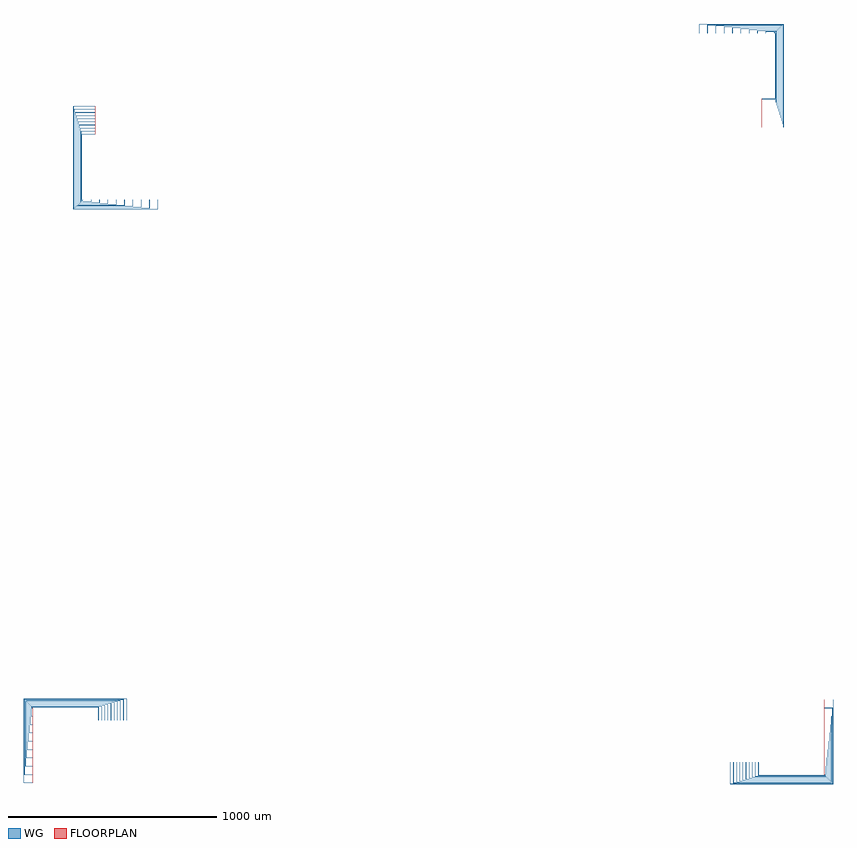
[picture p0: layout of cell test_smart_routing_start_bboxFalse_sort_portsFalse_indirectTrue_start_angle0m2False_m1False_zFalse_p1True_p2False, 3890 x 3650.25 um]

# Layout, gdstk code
import gdstk
lib = gdstk.Library(unit=1e-6, precision=1e-09)
def P(c, l, *ps):  # polygons
    for p in ps: c.add(gdstk.Polygon(p, *l))
WG = (1, 0)
FLOORPLAN = (10, 0)

test_smart_routing_start = lib.new_cell('test_smart_routing_start_bboxFalse_sort_portsFalse_indirectTrue_start_angle0m2False_m1False_zFalse_p1True_p2False')
P(test_smart_routing_start, WG, [(-444.7,-199.95),(-444.7,204.95),(49.95,204.95),(49.95,100),(49.75,100),(49.75,204.75),(-444.5,204.75),(-444.5,-199.75),(-400,-199.75),(-400,-199.95)],
  [(-445,-200.25),(-445,205.25),(50.25,205.25),(50.25,100),(50.05,100),(50.05,205.05),(-444.8,205.05),(-444.8,-200.05),(-400,-200.05),(-400,-200.25)],
  [(-440.2,-159.95),(-440.2,200.45),(34.95,200.45),(34.95,100),(34.75,100),(34.75,200.25),(-440,200.25),(-440,-159.75),(-400,-159.75),(-400,-159.95)],
  [(-440.5,-160.25),(-440.5,200.75),(35.25,200.75),(35.25,100),(35.05,100),(35.05,200.55),(-440.3,200.55),(-440.3,-160.05),(-400,-160.05),(-400,-160.25)],
  [(-435.7,-119.95),(-435.7,195.95),(19.95,195.95),(19.95,100),(19.75,100),(19.75,195.75),(-435.5,195.75),(-435.5,-119.75),(-400,-119.75),(-400,-119.95)],
  [(-436,-120.25),(-436,196.25),(20.25,196.25),(20.25,100),(20.05,100),(20.05,196.05),(-435.8,196.05),(-435.8,-120.05),(-400,-120.05),(-400,-120.25)],
  [(-431.2,-79.95),(-431.2,191.45),(4.95,191.45),(4.95,100),(4.75,100),(4.75,191.25),(-431,191.25),(-431,-79.75),(-400,-79.75),(-400,-79.95)],
  [(-431.5,-80.25),(-431.5,191.75),(5.25,191.75),(5.25,100),(5.05,100),(5.05,191.55),(-431.3,191.55),(-431.3,-80.05),(-400,-80.05),(-400,-80.25)],
  [(-426.7,-39.95),(-426.7,186.95),(-10.05,186.95),(-10.05,100),(-10.25,100),(-10.25,186.75),(-426.5,186.75),(-426.5,-39.75),(-400,-39.75),(-400,-39.95)],
  [(-427,-40.25),(-427,187.25),(-9.75,187.25),(-9.75,100),(-9.95,100),(-9.95,187.05),(-426.8,187.05),(-426.8,-40.05),(-400,-40.05),(-400,-40.25)],
  [(-422.2,0.05),(-422.2,182.45),(-25.05,182.45),(-25.05,100),(-25.25,100),(-25.25,182.25),(-422,182.25),(-422,0.25),(-400,0.25),(-400,0.05)],
  [(-422.5,-0.25),(-422.5,182.75),(-24.75,182.75),(-24.75,100),(-24.95,100),(-24.95,182.55),(-422.3,182.55),(-422.3,-0.05),(-400,-0.05),(-400,-0.25)],
  [(-417.7,40.05),(-417.7,177.95),(-40.05,177.95),(-40.05,100),(-40.25,100),(-40.25,177.75),(-417.5,177.75),(-417.5,40.25),(-400,40.25),(-400,40.05)],
  [(-418,39.75),(-418,178.25),(-39.75,178.25),(-39.75,100),(-39.95,100),(-39.95,178.05),(-417.8,178.05),(-417.8,39.95),(-400,39.95),(-400,39.75)],
  [(-413.2,80.05),(-413.2,173.45),(-55.05,173.45),(-55.05,100),(-55.25,100),(-55.25,173.25),(-413,173.25),(-413,80.25),(-400,80.25),(-400,80.05)],
  [(-413.5,79.75),(-413.5,173.75),(-54.75,173.75),(-54.75,100),(-54.95,100),(-54.95,173.55),(-413.3,173.55),(-413.3,79.95),(-400,79.95),(-400,79.75)],
  [(-70.25,100),(-70.25,168.75),(-408.5,168.75),(-408.5,120.25),(-400,120.25),(-400,120.05),(-408.7,120.05),(-408.7,168.95),(-70.05,168.95),(-70.05,100)],
  [(-69.95,100),(-69.95,169.05),(-408.8,169.05),(-408.8,119.95),(-400,119.95),(-400,119.75),(-409,119.75),(-409,169.25),(-69.75,169.25),(-69.75,100)],
  [(-85.25,100),(-85.25,164.25),(-404,164.25),(-404,160.25),(-400,160.25),(-400,160.05),(-404.2,160.05),(-404.2,164.45),(-85.05,164.45),(-85.05,100)],
  [(-84.95,100),(-84.95,164.55),(-404.3,164.55),(-404.3,159.95),(-400,159.95),(-400,159.75),(-404.5,159.75),(-404.5,164.75),(-84.75,164.75),(-84.75,100)],
  [(-204.95,2555.3),(-204.95,3049.95),(-100,3049.95),(-100,3049.75),(-204.75,3049.75),(-204.75,2555.5),(199.75,2555.5),(199.75,2600),(199.95,2600),(199.95,2555.3)],
  [(-205.25,2555),(-205.25,3050.25),(-100,3050.25),(-100,3050.05),(-205.05,3050.05),(-205.05,2555.2),(200.05,2555.2),(200.05,2600),(200.25,2600),(200.25,2555)],
  [(-200.45,2559.8),(-200.45,3034.95),(-100,3034.95),(-100,3034.75),(-200.25,3034.75),(-200.25,2560),(159.75,2560),(159.75,2600),(159.95,2600),(159.95,2559.8)],
  [(-200.75,2559.5),(-200.75,3035.25),(-100,3035.25),(-100,3035.05),(-200.55,3035.05),(-200.55,2559.7),(160.05,2559.7),(160.05,2600),(160.25,2600),(160.25,2559.5)],
  [(-195.95,2564.3),(-195.95,3019.95),(-100,3019.95),(-100,3019.75),(-195.75,3019.75),(-195.75,2564.5),(119.75,2564.5),(119.75,2600),(119.95,2600),(119.95,2564.3)],
  [(-196.25,2564),(-196.25,3020.25),(-100,3020.25),(-100,3020.05),(-196.05,3020.05),(-196.05,2564.2),(120.05,2564.2),(120.05,2600),(120.25,2600),(120.25,2564)],
  [(-191.45,2568.8),(-191.45,3004.95),(-100,3004.95),(-100,3004.75),(-191.25,3004.75),(-191.25,2569),(79.75,2569),(79.75,2600),(79.95,2600),(79.95,2568.8)],
  [(-191.75,2568.5),(-191.75,3005.25),(-100,3005.25),(-100,3005.05),(-191.55,3005.05),(-191.55,2568.7),(80.05,2568.7),(80.05,2600),(80.25,2600),(80.25,2568.5)],
  [(-186.95,2573.3),(-186.95,2989.95),(-100,2989.95),(-100,2989.75),(-186.75,2989.75),(-186.75,2573.5),(39.75,2573.5),(39.75,2600),(39.95,2600),(39.95,2573.3)],
  [(-187.25,2573),(-187.25,2990.25),(-100,2990.25),(-100,2990.05),(-187.05,2990.05),(-187.05,2573.2),(40.05,2573.2),(40.05,2600),(40.25,2600),(40.25,2573)],
  [(-182.45,2577.8),(-182.45,2974.95),(-100,2974.95),(-100,2974.75),(-182.25,2974.75),(-182.25,2578),(-0.25,2578),(-0.25,2600),(-0.05,2600),(-0.05,2577.8)],
  [(-182.75,2577.5),(-182.75,2975.25),(-100,2975.25),(-100,2975.05),(-182.55,2975.05),(-182.55,2577.7),(0.05,2577.7),(0.05,2600),(0.25,2600),(0.25,2577.5)],
  [(-177.95,2582.3),(-177.95,2959.95),(-100,2959.95),(-100,2959.75),(-177.75,2959.75),(-177.75,2582.5),(-40.25,2582.5),(-40.25,2600),(-40.05,2600),(-40.05,2582.3)],
  [(-178.25,2582),(-178.25,2960.25),(-100,2960.25),(-100,2960.05),(-178.05,2960.05),(-178.05,2582.2),(-39.95,2582.2),(-39.95,2600),(-39.75,2600),(-39.75,2582)],
  [(-173.45,2586.8),(-173.45,2944.95),(-100,2944.95),(-100,2944.75),(-173.25,2944.75),(-173.25,2587),(-80.25,2587),(-80.25,2600),(-80.05,2600),(-80.05,2586.8)],
  [(-173.75,2586.5),(-173.75,2945.25),(-100,2945.25),(-100,2945.05),(-173.55,2945.05),(-173.55,2586.7),(-79.95,2586.7),(-79.95,2600),(-79.75,2600),(-79.75,2586.5)],
  [(-168.95,2591.3),(-168.95,2929.95),(-100,2929.95),(-100,2929.75),(-168.75,2929.75),(-168.75,2591.5),(-120.25,2591.5),(-120.25,2600),(-120.05,2600),(-120.05,2591.3)],
  [(-169.25,2591),(-169.25,2930.25),(-100,2930.25),(-100,2930.05),(-169.05,2930.05),(-169.05,2591.2),(-119.95,2591.2),(-119.95,2600),(-119.75,2600),(-119.75,2591)],
  [(-164.45,2595.8),(-164.45,2914.95),(-100,2914.95),(-100,2914.75),(-164.25,2914.75),(-164.25,2596),(-160.25,2596),(-160.25,2600),(-160.05,2600),(-160.05,2595.8)],
  [(-164.75,2595.5),(-164.75,2915.25),(-100,2915.25),(-100,2915.05),(-164.55,2915.05),(-164.55,2595.7),(-159.95,2595.7),(-159.95,2600),(-159.75,2600),(-159.75,2595.5)],
  [(2950.05,-204.95),(2950.05,-100),(2950.25,-100),(2950.25,-204.75),(3444.5,-204.75),(3444.5,199.75),(3400,199.75),(3400,199.95),(3444.7,199.95),(3444.7,-204.95)],
  [(2949.75,-205.25),(2949.75,-100),(2949.95,-100),(2949.95,-205.05),(3444.8,-205.05),(3444.8,200.05),(3400,200.05),(3400,200.25),(3445,200.25),(3445,-205.25)],
  [(2965.05,-200.45),(2965.05,-100),(2965.25,-100),(2965.25,-200.25),(3440,-200.25),(3440,159.75),(3400,159.75),(3400,159.95),(3440.2,159.95),(3440.2,-200.45)],
  [(2964.75,-200.75),(2964.75,-100),(2964.95,-100),(2964.95,-200.55),(3440.3,-200.55),(3440.3,160.05),(3400,160.05),(3400,160.25),(3440.5,160.25),(3440.5,-200.75)],
  [(2980.05,-195.95),(2980.05,-100),(2980.25,-100),(2980.25,-195.75),(3435.5,-195.75),(3435.5,119.75),(3400,119.75),(3400,119.95),(3435.7,119.95),(3435.7,-195.95)],
  [(2979.75,-196.25),(2979.75,-100),(2979.95,-100),(2979.95,-196.05),(3435.8,-196.05),(3435.8,120.05),(3400,120.05),(3400,120.25),(3436,120.25),(3436,-196.25)],
  [(2995.05,-191.45),(2995.05,-100),(2995.25,-100),(2995.25,-191.25),(3431,-191.25),(3431,79.75),(3400,79.75),(3400,79.95),(3431.2,79.95),(3431.2,-191.45)],
  [(2994.75,-191.75),(2994.75,-100),(2994.95,-100),(2994.95,-191.55),(3431.3,-191.55),(3431.3,80.05),(3400,80.05),(3400,80.25),(3431.5,80.25),(3431.5,-191.75)],
  [(3010.05,-186.95),(3010.05,-100),(3010.25,-100),(3010.25,-186.75),(3426.5,-186.75),(3426.5,39.75),(3400,39.75),(3400,39.95),(3426.7,39.95),(3426.7,-186.95)],
  [(3009.75,-187.25),(3009.75,-100),(3009.95,-100),(3009.95,-187.05),(3426.8,-187.05),(3426.8,40.05),(3400,40.05),(3400,40.25),(3427,40.25),(3427,-187.25)],
  [(3025.05,-182.45),(3025.05,-100),(3025.25,-100),(3025.25,-182.25),(3422,-182.25),(3422,-0.25),(3400,-0.25),(3400,-0.05),(3422.2,-0.05),(3422.2,-182.45)],
  [(3024.75,-182.75),(3024.75,-100),(3024.95,-100),(3024.95,-182.55),(3422.3,-182.55),(3422.3,0.05),(3400,0.05),(3400,0.25),(3422.5,0.25),(3422.5,-182.75)],
  [(3040.05,-177.95),(3040.05,-100),(3040.25,-100),(3040.25,-177.75),(3417.5,-177.75),(3417.5,-40.25),(3400,-40.25),(3400,-40.05),(3417.7,-40.05),(3417.7,-177.95)],
  [(3039.75,-178.25),(3039.75,-100),(3039.95,-100),(3039.95,-178.05),(3417.8,-178.05),(3417.8,-39.95),(3400,-39.95),(3400,-39.75),(3418,-39.75),(3418,-178.25)],
  [(3055.05,-173.45),(3055.05,-100),(3055.25,-100),(3055.25,-173.25),(3413,-173.25),(3413,-80.25),(3400,-80.25),(3400,-80.05),(3413.2,-80.05),(3413.2,-173.45)],
  [(3054.75,-173.75),(3054.75,-100),(3054.95,-100),(3054.95,-173.55),(3413.3,-173.55),(3413.3,-79.95),(3400,-79.95),(3400,-79.75),(3413.5,-79.75),(3413.5,-173.75)],
  [(3069.75,-169.25),(3069.75,-100),(3069.95,-100),(3069.95,-169.05),(3408.8,-169.05),(3408.8,-119.95),(3400,-119.95),(3400,-119.75),(3409,-119.75),(3409,-169.25)],
  [(3070.05,-168.95),(3070.05,-100),(3070.25,-100),(3070.25,-168.75),(3408.5,-168.75),(3408.5,-120.25),(3400,-120.25),(3400,-120.05),(3408.7,-120.05),(3408.7,-168.95)],
  [(3084.75,-164.75),(3084.75,-100),(3084.95,-100),(3084.95,-164.55),(3404.3,-164.55),(3404.3,-159.95),(3400,-159.95),(3400,-159.75),(3404.5,-159.75),(3404.5,-164.75)],
  [(3085.05,-164.45),(3085.05,-100),(3085.25,-100),(3085.25,-164.25),(3404,-164.25),(3404,-160.25),(3400,-160.25),(3400,-160.05),(3404.2,-160.05),(3404.2,-164.45)],
  [(3100,2950.05),(3100,2950.25),(3204.75,2950.25),(3204.75,3444.5),(2800.25,3444.5),(2800.25,3400),(2800.05,3400),(2800.05,3444.7),(3204.95,3444.7),(3204.95,2950.05)],
  [(3100,2949.75),(3100,2949.95),(3205.05,2949.95),(3205.05,3444.8),(2799.95,3444.8),(2799.95,3400),(2799.75,3400),(2799.75,3445),(3205.25,3445),(3205.25,2949.75)],
  [(3100,2965.05),(3100,2965.25),(3200.25,2965.25),(3200.25,3440),(2840.25,3440),(2840.25,3400),(2840.05,3400),(2840.05,3440.2),(3200.45,3440.2),(3200.45,2965.05)],
  [(3100,2964.75),(3100,2964.95),(3200.55,2964.95),(3200.55,3440.3),(2839.95,3440.3),(2839.95,3400),(2839.75,3400),(2839.75,3440.5),(3200.75,3440.5),(3200.75,2964.75)],
  [(3100,2980.05),(3100,2980.25),(3195.75,2980.25),(3195.75,3435.5),(2880.25,3435.5),(2880.25,3400),(2880.05,3400),(2880.05,3435.7),(3195.95,3435.7),(3195.95,2980.05)],
  [(3100,2979.75),(3100,2979.95),(3196.05,2979.95),(3196.05,3435.8),(2879.95,3435.8),(2879.95,3400),(2879.75,3400),(2879.75,3436),(3196.25,3436),(3196.25,2979.75)],
  [(3100,2995.05),(3100,2995.25),(3191.25,2995.25),(3191.25,3431),(2920.25,3431),(2920.25,3400),(2920.05,3400),(2920.05,3431.2),(3191.45,3431.2),(3191.45,2995.05)],
  [(3100,2994.75),(3100,2994.95),(3191.55,2994.95),(3191.55,3431.3),(2919.95,3431.3),(2919.95,3400),(2919.75,3400),(2919.75,3431.5),(3191.75,3431.5),(3191.75,2994.75)],
  [(3100,3010.05),(3100,3010.25),(3186.75,3010.25),(3186.75,3426.5),(2960.25,3426.5),(2960.25,3400),(2960.05,3400),(2960.05,3426.7),(3186.95,3426.7),(3186.95,3010.05)],
  [(3100,3009.75),(3100,3009.95),(3187.05,3009.95),(3187.05,3426.8),(2959.95,3426.8),(2959.95,3400),(2959.75,3400),(2959.75,3427),(3187.25,3427),(3187.25,3009.75)],
  [(3100,3025.05),(3100,3025.25),(3182.25,3025.25),(3182.25,3422),(3000.25,3422),(3000.25,3400),(3000.05,3400),(3000.05,3422.2),(3182.45,3422.2),(3182.45,3025.05)],
  [(3100,3024.75),(3100,3024.95),(3182.55,3024.95),(3182.55,3422.3),(2999.95,3422.3),(2999.95,3400),(2999.75,3400),(2999.75,3422.5),(3182.75,3422.5),(3182.75,3024.75)],
  [(3100,3040.05),(3100,3040.25),(3177.75,3040.25),(3177.75,3417.5),(3040.25,3417.5),(3040.25,3400),(3040.05,3400),(3040.05,3417.7),(3177.95,3417.7),(3177.95,3040.05)],
  [(3100,3039.75),(3100,3039.95),(3178.05,3039.95),(3178.05,3417.8),(3039.95,3417.8),(3039.95,3400),(3039.75,3400),(3039.75,3418),(3178.25,3418),(3178.25,3039.75)],
  [(3100,3055.05),(3100,3055.25),(3173.25,3055.25),(3173.25,3413),(3080.25,3413),(3080.25,3400),(3080.05,3400),(3080.05,3413.2),(3173.45,3413.2),(3173.45,3055.05)],
  [(3100,3054.75),(3100,3054.95),(3173.55,3054.95),(3173.55,3413.3),(3079.95,3413.3),(3079.95,3400),(3079.75,3400),(3079.75,3413.5),(3173.75,3413.5),(3173.75,3054.75)],
  [(3100,3070.05),(3100,3070.25),(3168.75,3070.25),(3168.75,3408.5),(3120.25,3408.5),(3120.25,3400),(3120.05,3400),(3120.05,3408.7),(3168.95,3408.7),(3168.95,3070.05)],
  [(3100,3069.75),(3100,3069.95),(3169.05,3069.95),(3169.05,3408.8),(3119.95,3408.8),(3119.95,3400),(3119.75,3400),(3119.75,3409),(3169.25,3409),(3169.25,3069.75)],
  [(3100,3085.05),(3100,3085.25),(3164.25,3085.25),(3164.25,3404),(3160.25,3404),(3160.25,3400),(3160.05,3400),(3160.05,3404.2),(3164.45,3404.2),(3164.45,3085.05)],
  [(3100,3084.75),(3100,3084.95),(3164.55,3084.95),(3164.55,3404.3),(3159.95,3404.3),(3159.95,3400),(3159.75,3400),(3159.75,3404.5),(3164.75,3404.5),(3164.75,3084.75)])
P(test_smart_routing_start, FLOORPLAN, [(-85,100),(-85,100),(50,100),(50,100)],
  [(-100,2915),(-100,3050),(-100,3050),(-100,2915)],
  [(2950,-100),(2950,-100),(3085,-100),(3085,-100)],
  [(3100,2950),(3100,3085),(3100,3085),(3100,2950)],
  [(-400,-200),(-400,160),(-400,160),(-400,-200)],
  [(-160,2600),(-160,2600),(200,2600),(200,2600)],
  [(3400,-160),(3400,200),(3400,200),(3400,-160)],
  [(2800,3400),(2800,3400),(3160,3400),(3160,3400)])

lib.write_gds('test_smart_routing_start_bboxFalse_sort_portsFalse_indirectTrue_start_angle0m2False_m1False_zFalse_p1True_p2False.gds')
